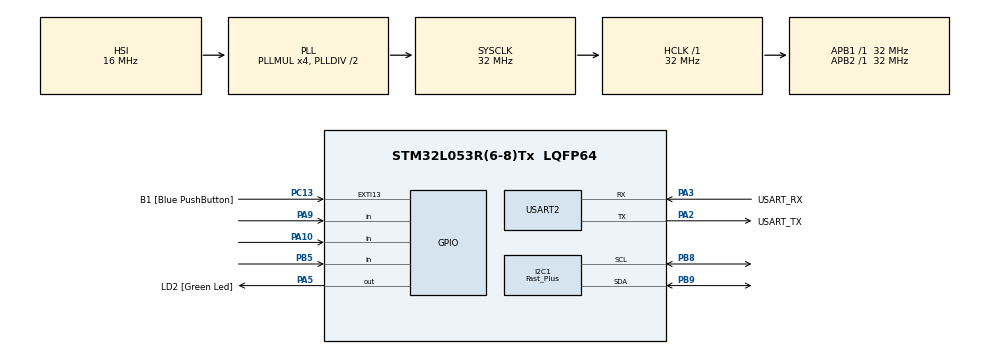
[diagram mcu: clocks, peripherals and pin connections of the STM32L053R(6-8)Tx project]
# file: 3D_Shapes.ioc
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I2C1.I2C_Speed_Mode=I2C_Fast_Plus
I2C1.Timing=0x0040040C
Mcu.Family=STM32L0
Mcu.Name=STM32L053R(6-8)Tx
Mcu.Package=LQFP64
PA10.GPIO_PuPd=GPIO_PULLUP
PA10.Signal=GPIO_Input
PA13.GPIO_Label=TMS
PA13.Mode=Serial_Wire
PA13.Signal=SYS_SWDIO
PA14.GPIO_Label=TCK
PA14.Mode=Serial_Wire
PA14.Signal=SYS_SWCLK
PA2.GPIO_Label=USART_TX
PA2.Mode=Asynchronous
PA2.Signal=USART2_TX
PA3.GPIO_Label=USART_RX
PA3.Mode=Asynchronous
PA3.Signal=USART2_RX
PA5.GPIO_Label=LD2 [Green Led]
PA5.Signal=GPIO_Output
PA9.GPIO_PuPd=GPIO_PULLUP
PA9.Signal=GPIO_Input
PB5.GPIO_PuPd=GPIO_PULLUP
PB5.Signal=GPIO_Input
PB8.Mode=I2C
PB8.Signal=I2C1_SCL
PB9.Mode=I2C
PB9.Signal=I2C1_SDA
PC13.GPIO_Label=B1 [Blue PushButton]
PC13.GPIO_ModeDefaultEXTI=GPIO_MODE_IT_FALLING
PC13.Signal=GPXTI13
PC14-OSC32_IN.Mode=LSE-External-Oscillator
PC14-OSC32_IN.Signal=RCC_OSC32_IN
PC15-OSC32_OUT.Mode=LSE-External-Oscillator
PC15-OSC32_OUT.Signal=RCC_OSC32_OUT
PH0-OSC_IN.Mode=HSE-External-Clock-Source
PH0-OSC_IN.Signal=RCC_OSC_IN
PH1-OSC_OUT.Signal=RCC_OSC_OUT
ProjectManager.HeapSize=0x200
ProjectManager.StackSize=0x400
ProjectManager.TargetToolchain=STM32CubeIDE
RCC.AHBFreq_Value=32000000
RCC.APB1Freq_Value=32000000
RCC.APB1TimFreq_Value=32000000
RCC.APB2Freq_Value=32000000
RCC.APB2TimFreq_Value=32000000
RCC.HCLKFreq_Value=32000000
RCC.HSE_VALUE=8000000
RCC.HSI16_VALUE=16000000
RCC.HSI48_VALUE=48000000
RCC.HSI_VALUE=16000000
RCC.MSI_VALUE=2097000
RCC.PLLMUL=RCC_PLLMUL_4
RCC.SYSCLKFreq_VALUE=32000000
RCC.SYSCLKSource=RCC_SYSCLKSOURCE_PLLCLK
RCC.VCOOutputFreq_Value=64000000
USART2.VirtualMode-Asynchronous=VM_ASYNC
board=NUCLEO-L053R8

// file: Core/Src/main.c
/* USER CODE BEGIN Header */
/**
 ******************************************************************************
 * @file           : main.c
 * @brief          : Main program body
 ******************************************************************************
 * @attention
 *
 * Copyright (c) 2026 STMicroelectronics.
 * All rights reserved.
 *
 * This software is licensed under terms that can be found in the LICENSE file
 * in the root directory of this software component.
 * If no LICENSE file comes with this software, it is provided AS-IS.
 *
 ******************************************************************************
 */
/* USER CODE END Header */
#include "main.h"

/* USER CODE BEGIN Includes */
#include "ssd1306.h"
#include "ssd1306_fonts.h"
#include "math.h"

/* USER CODE END Includes */

/* USER CODE BEGIN PD */

#define NUM_OF_ITEMS 7
#define MAX_TITLE_LENGTH 20

// ' scroll', 1x64px
const unsigned char epd_bitmap__scroll[] = { 0x80, 0x80, 0x00, 0x80, 0x00, 0x80,
		0x00, 0x80, 0x00, 0x80, 0x00, 0x80, 0x00, 0x80, 0x00, 0x80, 0x00, 0x80,
		0x00, 0x80, 0x00, 0x80, 0x00, 0x80, 0x00, 0x80, 0x00, 0x80, 0x00, 0x80,
		0x00, 0x80, 0x00, 0x80, 0x00, 0x80, 0x00, 0x80, 0x00, 0x80, 0x00, 0x80,
		0x00, 0x80, 0x00, 0x80, 0x00, 0x80, 0x00, 0x80, 0x00, 0x80, 0x00, 0x80,
		0x00, 0x80, 0x00, 0x80, 0x00, 0x80, 0x00, 0x00, 0x00 };
// ' selected', 118x21px
const unsigned char epd_bitmap__selected[] = { 0x3f, 0xff, 0xff, 0xff, 0xff,
		0xff, 0xff, 0xff, 0xff, 0xff, 0xff, 0xff, 0xff, 0xff, 0xe0, 0x40, 0x00,
		0x00, 0x00, 0x00, 0x00, 0x00, 0x00, 0x00, 0x00, 0x00, 0x00, 0x00, 0x00,
		0x30, 0x80, 0x00, 0x00, 0x00, 0x00, 0x00, 0x00, 0x00, 0x00, 0x00, 0x00,
		0x00, 0x00, 0x00, 0x18, 0x80, 0x00, 0x00, 0x00, 0x00, 0x00, 0x00, 0x00,
		0x00, 0x00, 0x00, 0x00, 0x00, 0x00, 0x0c, 0x80, 0x00, 0x00, 0x00, 0x00,
		0x00, 0x00, 0x00, 0x00, 0x00, 0x00, 0x00, 0x00, 0x00, 0x0c, 0x80, 0x00,
		0x00, 0x00, 0x00, 0x00, 0x00, 0x00, 0x00, 0x00, 0x00, 0x00, 0x00, 0x00,
		0x0c, 0x80, 0x00, 0x00, 0x00, 0x00, 0x00, 0x00, 0x00, 0x00, 0x00, 0x00,
		0x00, 0x00, 0x00, 0x0c, 0x80, 0x00, 0x00, 0x00, 0x00, 0x00, 0x00, 0x00,
		0x00, 0x00, 0x00, 0x00, 0x00, 0x00, 0x0c, 0x80, 0x00, 0x00, 0x00, 0x00,
		0x00, 0x00, 0x00, 0x00, 0x00, 0x00, 0x00, 0x00, 0x00, 0x0c, 0x80, 0x00,
		0x00, 0x00, 0x00, 0x00, 0x00, 0x00, 0x00, 0x00, 0x00, 0x00, 0x00, 0x00,
		0x0c, 0x80, 0x00, 0x00, 0x00, 0x00, 0x00, 0x00, 0x00, 0x00, 0x00, 0x00,
		0x00, 0x00, 0x00, 0x0c, 0x80, 0x00, 0x00, 0x00, 0x00, 0x00, 0x00, 0x00,
		0x00, 0x00, 0x00, 0x00, 0x00, 0x00, 0x0c, 0x80, 0x00, 0x00, 0x00, 0x00,
		0x00, 0x00, 0x00, 0x00, 0x00, 0x00, 0x00, 0x00, 0x00, 0x0c, 0x80, 0x00,
		0x00, 0x00, 0x00, 0x00, 0x00, 0x00, 0x00, 0x00, 0x00, 0x00, 0x00, 0x00,
		0x0c, 0x80, 0x00, 0x00, 0x00, 0x00, 0x00, 0x00, 0x00, 0x00, 0x00, 0x00,
		0x00, 0x00, 0x00, 0x0c, 0x80, 0x00, 0x00, 0x00, 0x00, 0x00, 0x00, 0x00,
		0x00, 0x00, 0x00, 0x00, 0x00, 0x00, 0x0c, 0x80, 0x00, 0x00, 0x00, 0x00,
		0x00, 0x00, 0x00, 0x00, 0x00, 0x00, 0x00, 0x00, 0x00, 0x0c, 0x80, 0x00,
		0x00, 0x00, 0x00, 0x00, 0x00, 0x00, 0x00, 0x00, 0x00, 0x00, 0x00, 0x00,
		0x1c, 0xc0, 0x00, 0x00, 0x00, 0x00, 0x00, 0x00, 0x00, 0x00, 0x00, 0x00,
		0x00, 0x00, 0x00, 0x38, 0x7f, 0xff, 0xff, 0xff, 0xff, 0xff, 0xff, 0xff,
		0xff, 0xff, 0xff, 0xff, 0xff, 0xff, 0xf0, 0x1f, 0xff, 0xff, 0xff, 0xff,
		0xff, 0xff, 0xff, 0xff, 0xff, 0xff, 0xff, 0xff, 0xff, 0xe0 };

// ' cube', 16x16px
const unsigned char epd_bitmap__cube[] = { 0xff, 0xfc, 0xc0, 0x0c, 0xa0, 0x14,
		0x90, 0x24, 0x8f, 0xc4, 0x88, 0x44, 0x88, 0x44, 0x88, 0x44, 0x88, 0x44,
		0x8f, 0xc4, 0x90, 0x24, 0xa0, 0x14, 0xc0, 0x0c, 0xff, 0xfc, 0x00, 0x00,
		0x00, 0x00 };

// 'arrow', 16x16px
const unsigned char epd_bitmap__arrow []  = {
	0x04, 0x00, 0x08, 0x00, 0x30, 0x00, 0x40, 0x00, 0xff, 0xfc, 0x40, 0x00, 0x30, 0x00, 0x08, 0x00,
	0x04, 0x00, 0x00, 0x00, 0x00, 0x00, 0x00, 0x00, 0x00, 0x00, 0x00, 0x00, 0x00, 0x00, 0x00, 0x00
};
// ' penta1', 16x16px
const unsigned char epd_bitmap__penta1 []  = {
	0x07, 0x00, 0x3a, 0xe0, 0xc2, 0x18, 0xc2, 0x18, 0xc2, 0x28, 0xa2, 0x28, 0x9f, 0xc8, 0x92, 0x48,
	0x95, 0x48, 0x94, 0xc8, 0x58, 0x50, 0x30, 0x60, 0x1f, 0xc0, 0x00, 0x00, 0x00, 0x00, 0x00, 0x00
};
// ' penta2', 16x16px
const unsigned char epd_bitmap__penta2 []  = {
	0x03, 0x00, 0x0c, 0xc0, 0x10, 0x20, 0x60, 0x18, 0x80, 0x04, 0x80, 0x24, 0x40, 0x28, 0x40, 0x28,
	0x20, 0x70, 0x27, 0x90, 0x10, 0x20, 0x1f, 0xe0, 0x00, 0x00, 0x00, 0x00, 0x00, 0x00, 0x00, 0x00
};
// ' prism', 16x16px
const unsigned char epd_bitmap__prism []  = {
	0x7f, 0x80, 0xc0, 0x70, 0xa0, 0xd0, 0xa3, 0x10, 0x9c, 0x10, 0x90, 0x10, 0x90, 0x10, 0xf0, 0x10,
	0x9f, 0x90, 0x50, 0x70, 0x31, 0xf0, 0x1e, 0x00, 0x00, 0x00, 0x00, 0x00, 0x00, 0x00, 0x00, 0x00
};
// 'tetra', 16x16px
const unsigned char epd_bitmap_tetra []  = {
	0x01, 0x80, 0x03, 0x40, 0x05, 0x40, 0x05, 0x40, 0x05, 0x20, 0x09, 0x20, 0x09, 0x20, 0x11, 0x10,
	0x11, 0x10, 0x23, 0x10, 0x24, 0x88, 0x48, 0x48, 0x50, 0x28, 0xa0, 0x14, 0xff, 0xfc, 0x00, 0x00
};
// ' pyramid', 16x16px
const unsigned char epd_bitmap__pyramid []  = {
	0x02, 0x00, 0x0f, 0x80, 0x15, 0x40, 0x65, 0x30, 0xff, 0xf8, 0x88, 0x88, 0x90, 0x48, 0x90, 0x48,
	0xa0, 0x28, 0xa0, 0x28, 0xc0, 0x18, 0xc0, 0x18, 0x80, 0x08, 0xff, 0xf8, 0x00, 0x00, 0x00, 0x00
};

// Array of all bitmaps for convenience. (Total bytes used to store images in PROGMEM = 288)
const int bitmap_icons_LEN = 7;
const unsigned char* bitmap_icons[7] = {
	epd_bitmap__arrow,
	epd_bitmap__penta2,
	epd_bitmap__penta1,
	epd_bitmap__prism,
	epd_bitmap_tetra,
	epd_bitmap__cube,
	epd_bitmap__pyramid

};

char menu_items[NUM_OF_ITEMS][MAX_TITLE_LENGTH] = {
		{ "Arrow" },
		{ "Penta 1" },
		{"Penta 2" },
		{ "Prism" },
		{ "Tetra" },
		{ "Cube" },
		{ "Pyramid" }
	};

/* USER CODE END PD */

I2C_HandleTypeDef hi2c1;

UART_HandleTypeDef huart2;

void SystemClock_Config(void);
static void MX_GPIO_Init(void);
static void MX_USART2_UART_Init(void);
static void MX_I2C1_Init(void);

/* USER CODE BEGIN 0 */
#define PI 3.14159265358979323846f
#define DEG2RAD (PI / 180.0f)
#define MAX_POINTS 10

#define FRAME_PERIOD_MS       33U    // 30 FPS
#define ROTATION_SPEED_DPS    60.0f  // Degrees per second
#define SCALE_SPEED_RAD_S     2.0f   // Scale oscillation speed

uint32_t lastTime = 0;
uint32_t now = 0;
uint32_t elapsed = 0;

float angle = 0.0;
float rad = 0.0f;
float z_offset = -5.0; //offset po z
float mult = 70.0; //scaler
int osc = 0; //oscilator
int shape = 0;
int n; //tochki

uint8_t currentScreen = 0;
int itemSelected = 1;
int previousItem = 0;
int nextItem = 2;

uint8_t selectPressed = 0;
uint8_t down_buttonIsPressed = 0;
uint8_t up_buttonIsPressed = 0;

const int cube_points[8][3] = { //x, y, z
		{ -1, -1, 1 }, // 0
		{ 1, -1, 1 }, // 1
		{ 1, 1, 1 }, // 2
		{ -1,1, 1 }, // 3
		{ -1, -1, -1 }, // 4
		{ 1, -1, -1 }, // 5
		{ 1, 1, -1 }, // 6
		{ -1, 1, -1 } // 7
	};

const int pyramid_points[5][3] = { // x , y , z
		{ 1, -1, -1 }, // 0
		{ -1, -1, -1 }, // 1
		{ -1, -1, 1 }, // 2
		{ 1, -1, 1 }, // 3
		{ 0, 1, 0 }, // 4
	};

const int tetrahedron_points[4][3] = { //x,y,z
		{0, -1, -1}, // 0
		{1, -1, 1}, //1
		{-1, -1, 1}, //2
		{0, 1, 0} //3
		//zashtoto osnowata ne e kwadrat i winagi she izglejda leko ploska s celi chisla
	};

const int triangular_prism [6][3] =  { //x,y,z

		{0, -1, -1}, // 0
		{1, -1, 1}, // 1
		{-1, -1, 1}, // 2

		{0, 1, -1}, // 3
		{1, 1, 1}, // 4
		{-1, 1, 1} // 5

	};

const int pentagon_one_points [10][3] = { //x,y,z

		{0, 1.5, -1},
		{2 , 0.5, -1},
		{1, -1.5, -1},
		{-1, -1.5, -1},
		{-2, 0.5, -1},

		{0, 1.5, 1},
		{2 , 0.5, 1},
		{1, -1.5, 1},
		{-1, -1.5, 1},
		{-2, 0.5, 1}

};

const int pentagon_two_points [10][3] = { //x,y,z
		{0,-1,-2},
		{2, -1, -1},
		{1, -1, 1},
		{-1, -1, 1},
		{-2, -1, -1},

		{0, 1, -2},
		{2, 1, -1},
		{1, 1, 1},
		{-1, 1, 1},
		{-2, 1, -1}
};

const int arrow_points [4][3] = {

		{0, 0, 2},
		{1, 1, 1},
		{1, -1, 1},
		{2, 0, 0}

};

static void displayCube(int points_2d[][2]) {

	//CLear Screen
	ssd1306_Fill(Black);

	//Display Cube
	ssd1306_Line(points_2d[0][0], points_2d[0][1], points_2d[1][0],points_2d[1][1], White); // 0 -1
	ssd1306_Line(points_2d[1][0], points_2d[1][1], points_2d[2][0],points_2d[2][1], White); // 1 - 2
	ssd1306_Line(points_2d[2][0], points_2d[2][1], points_2d[3][0],points_2d[3][1], White); // 2 - 3
	ssd1306_Line(points_2d[3][0], points_2d[3][1], points_2d[0][0],points_2d[0][1], White); // 3 - 0

	ssd1306_Line(points_2d[4][0], points_2d[4][1], points_2d[5][0],points_2d[5][1], White); // 4 - 5
	ssd1306_Line(points_2d[5][0], points_2d[5][1], points_2d[6][0],points_2d[6][1], White); // 5 - 6
	ssd1306_Line(points_2d[6][0], points_2d[6][1], points_2d[7][0],points_2d[7][1], White); // 6 - 7
	ssd1306_Line(points_2d[7][0], points_2d[7][1], points_2d[4][0],points_2d[4][1], White); // 7 - 4

	ssd1306_Line(points_2d[0][0], points_2d[0][1], points_2d[4][0], points_2d[4][1], White); // 0 - 4
	ssd1306_Line(points_2d[1][0], points_2d[1][1], points_2d[5][0],points_2d[5][1], White); // 1 - 5
	ssd1306_Line(points_2d[2][0], points_2d[2][1], points_2d[6][0],points_2d[6][1], White); // 2 - 6
	ssd1306_Line(points_2d[3][0], points_2d[3][1], points_2d[7][0],points_2d[7][1], White); // 3 - 7

	ssd1306_UpdateScreen();

}

static void displayPentagon(int points_2d[][2]) {

	//CLear Screen
	ssd1306_Fill(Black);

	//Display Cube
	ssd1306_Line(points_2d[0][0], points_2d[0][1], points_2d[1][0],points_2d[1][1], White); // 0 - 1
	ssd1306_Line(points_2d[1][0], points_2d[1][1], points_2d[2][0],points_2d[2][1], White); // 1 - 2
	ssd1306_Line(points_2d[2][0], points_2d[2][1], points_2d[3][0],points_2d[3][1], White); // 2 - 3
	ssd1306_Line(points_2d[3][0], points_2d[3][1], points_2d[4][0],points_2d[4][1], White); // 3 - 4
	ssd1306_Line(points_2d[4][0], points_2d[4][1], points_2d[0][0],points_2d[0][1], White); // 4 - 0

	ssd1306_Line(points_2d[5][0], points_2d[5][1], points_2d[6][0],points_2d[6][1], White); // 5 - 6
	ssd1306_Line(points_2d[6][0], points_2d[6][1], points_2d[7][0],points_2d[7][1], White); // 6 - 7
	ssd1306_Line(points_2d[7][0], points_2d[7][1], points_2d[8][0],points_2d[8][1], White); // 7 - 8
	ssd1306_Line(points_2d[8][0], points_2d[8][1], points_2d[9][0],points_2d[9][1], White); // 8 - 9
	ssd1306_Line(points_2d[9][0], points_2d[9][1], points_2d[5][0],points_2d[5][1], White); // 9 - 5

	ssd1306_Line(points_2d[0][0], points_2d[0][1], points_2d[5][0],points_2d[5][1], White); // 0 - 5
	ssd1306_Line(points_2d[1][0], points_2d[1][1], points_2d[6][0],points_2d[6][1], White); // 1 - 6
	ssd1306_Line(points_2d[2][0], points_2d[2][1], points_2d[7][0],points_2d[7][1], White); // 2 - 7
	ssd1306_Line(points_2d[3][0], points_2d[3][1], points_2d[8][0],points_2d[8][1], White); // 3 - 8
	ssd1306_Line(points_2d[4][0], points_2d[4][1], points_2d[9][0],points_2d[9][1], White); // 4 - 9

	ssd1306_UpdateScreen();

}

static void displayPyramid(int points_2d[][2]) {

	//CLear Screen
	ssd1306_Fill(Black);

	ssd1306_Line(points_2d[0][0], points_2d[0][1], points_2d[1][0],points_2d[1][1], White); // 0 -1
	ssd1306_Line(points_2d[1][0], points_2d[1][1], points_2d[2][0],points_2d[2][1], White); // 1 - 2
	ssd1306_Line(points_2d[2][0], points_2d[2][1], points_2d[3][0],points_2d[3][1], White); // 2 - 3
	ssd1306_Line(points_2d[3][0], points_2d[3][1], points_2d[0][0],points_2d[0][1], White); // 3 - 0

	ssd1306_Line(points_2d[0][0], points_2d[0][1], points_2d[4][0],points_2d[4][1], White); // 4 - 5
	ssd1306_Line(points_2d[1][0], points_2d[1][1], points_2d[4][0],points_2d[4][1], White); // 5 - 6
	ssd1306_Line(points_2d[2][0], points_2d[2][1], points_2d[4][0],points_2d[4][1], White); // 6 - 7
	ssd1306_Line(points_2d[3][0], points_2d[3][1], points_2d[4][0],points_2d[4][1], White); // 7 - 4

	ssd1306_UpdateScreen();
}

static void displayTriPrism(int points_2d[][2]) {

	//CLear Screen
	ssd1306_Fill(Black);

	//Display Prism
	ssd1306_Line(points_2d[0][0], points_2d[0][1], points_2d[1][0],points_2d[1][1], White); // 0 -1
	ssd1306_Line(points_2d[1][0], points_2d[1][1], points_2d[2][0],points_2d[2][1], White); // 1 - 2
	ssd1306_Line(points_2d[2][0], points_2d[2][1], points_2d[0][0],points_2d[0][1], White); // 2 - 0

	ssd1306_Line(points_2d[3][0], points_2d[3][1], points_2d[4][0],points_2d[4][1], White); // 3 - 4
	ssd1306_Line(points_2d[4][0], points_2d[4][1], points_2d[5][0],points_2d[5][1], White); // 4 - 5
	ssd1306_Line(points_2d[5][0], points_2d[5][1], points_2d[3][0],points_2d[3][1], White); // 5 - 3

	ssd1306_Line(points_2d[0][0], points_2d[0][1], points_2d[3][0],points_2d[3][1], White); // 0 - 3
	ssd1306_Line(points_2d[1][0], points_2d[1][1], points_2d[4][0],points_2d[4][1], White); // 1 - 4
	ssd1306_Line(points_2d[2][0], points_2d[2][1], points_2d[5][0],points_2d[5][1], White); // 2 - 5

	ssd1306_UpdateScreen();

}

static void displayTetra(int points_2d[][2]) {

	//CLear Screen
	ssd1306_Fill(Black);

	ssd1306_Line(points_2d[0][0], points_2d[0][1], points_2d[1][0],points_2d[1][1], White); // 0 -1
	ssd1306_Line(points_2d[1][0], points_2d[1][1], points_2d[2][0],points_2d[2][1], White); // 1 - 2
	ssd1306_Line(points_2d[2][0], points_2d[2][1], points_2d[0][0],points_2d[0][1], White); // 2 - 0

	ssd1306_Line(points_2d[0][0], points_2d[0][1], points_2d[3][0],points_2d[3][1], White); // 0 - 3
	ssd1306_Line(points_2d[1][0], points_2d[1][1], points_2d[3][0],points_2d[3][1], White); // 1 - 3
	ssd1306_Line(points_2d[2][0], points_2d[2][1], points_2d[3][0],points_2d[3][1], White); // 2 - 3

	ssd1306_UpdateScreen();
}

static void displayArrow(int points_2d[][2]) {

	//CLear Screen
	ssd1306_Fill(Black);

	ssd1306_Line(points_2d[0][0], points_2d[0][1], points_2d[1][0],points_2d[1][1], White); // 0 - 1
	ssd1306_Line(points_2d[0][0], points_2d[0][1], points_2d[2][0],points_2d[2][1], White); // 0 - 2
	ssd1306_Line(points_2d[0][0], points_2d[0][1], points_2d[3][0],points_2d[3][1], White); // 0 - 3

	ssd1306_UpdateScreen();
}

static void rotateXYZ(const int original_points[][3], float rotated_points[][3],float rad, float z_offset, int n) {
	//rotate x, y, z
	for (int i = 0; i < n; i++) {
		//X value
		rotated_points[i][0] = original_points[i][0] * cos(rad)
				- original_points[i][2] * sin(rad);

		//Y val - ne se promenq, zashtoto wurtim po Y-axis
		rotated_points[i][1] = original_points[i][1];

		//Z val + Z_offset
		rotated_points[i][2] = original_points[i][0] * sin(rad)
				+ original_points[i][2] * cos(rad) + z_offset;
	}
}

static void pointsConvert2D(int points_2d[][2], float rotated_points[][3],
		int n) {
	//3d to 2d
	for (int i = 0; i < n; i++) {
		//X val = Xc = x / z
		points_2d[i][0] = roundf(
				64 + rotated_points[i][0] / rotated_points[i][2] * mult); // +64 za centrirane

				//Y val = Yc = y / z
		points_2d[i][1] = roundf(
				32 + rotated_points[i][1] / rotated_points[i][2] * mult); //+32 za centrirane
	}
}

static void spinShape(const int original_points[][3], float rotated_points[][3], int points_2d[][2],float rad, float z_offset, int n, int shape){

	//rotate XYZ
	rotateXYZ(original_points, rotated_points, rad, z_offset, n);

	//3D to 2D
	pointsConvert2D(points_2d, rotated_points, n);

	switch(shape){
	case 0: displayArrow(points_2d); break;
	case 1: displayPentagon(points_2d); break;
	case 2: displayPentagon(points_2d); break;
	case 3: displayTriPrism(points_2d);break;
	case 4: displayTetra(points_2d); break;
	case 5: displayCube(points_2d); break;
	case 6:	displayPyramid(points_2d); break;
	}

}

/* USER CODE END 0 */

int main(void)
{

  /* MCU Configuration--------------------------------------------------------*/

  /* Reset of all peripherals, Initializes the Flash interface and the Systick. */
  HAL_Init();

  /* Configure the system clock */
  SystemClock_Config();

  /* Initialize all configured peripherals */
  MX_GPIO_Init();
  MX_USART2_UART_Init();
  MX_I2C1_Init();
  /* USER CODE BEGIN 2 */

	const int (*original_points)[3];
	int points_2d[MAX_POINTS][2]; //x,y - 2d
	float rotated_points[MAX_POINTS][3]; //x,y,z zawurtqni w 3d
	float scalePhase = 0.0f;

	ssd1306_Init();

  /* USER CODE END 2 */

  /* Infinite loop */
	while (1) {

    /* USER CODE BEGIN 3 */

		//choose screen
		if (HAL_GPIO_ReadPin(GPIOA, GPIO_PIN_9) == 0 && selectPressed == 0) {
			selectPressed = 1;
			if (currentScreen == 0)
				currentScreen = 1;
			else
				currentScreen = 0;
		}

		if (HAL_GPIO_ReadPin(GPIOA, GPIO_PIN_9) == 1 && selectPressed == 1)
			selectPressed = 0;

		if (currentScreen == 0) {

			if (HAL_GPIO_ReadPin(GPIOA, GPIO_PIN_10) == 0
					&& down_buttonIsPressed == 0) {
				down_buttonIsPressed = 1;

				previousItem = itemSelected;
				itemSelected = nextItem;

				if (nextItem >= NUM_OF_ITEMS - 1)
					nextItem = 0;
				else
					nextItem++;
			}

			if (HAL_GPIO_ReadPin(GPIOA, GPIO_PIN_10) == 1
					&& down_buttonIsPressed == 1)
				down_buttonIsPressed = 0;

			if (HAL_GPIO_ReadPin(GPIOB, GPIO_PIN_5) == 0
					&& up_buttonIsPressed == 0) {
				up_buttonIsPressed = 1;

				nextItem = itemSelected;
				itemSelected = previousItem;

				if (previousItem <= 0)
					previousItem = NUM_OF_ITEMS - 1;
				else
					previousItem--;
			}

			if (HAL_GPIO_ReadPin(GPIOB, GPIO_PIN_5) == 1
					&& up_buttonIsPressed == 1)
				up_buttonIsPressed = 0;

			ssd1306_Fill(Black);

			ssd1306_DrawBitmap(1, 22, epd_bitmap__selected, 118, 21, White);
			ssd1306_DrawBitmap(126, 1, epd_bitmap__scroll, 1, 64, White);

			ssd1306_DrawBitmap(4, 2, bitmap_icons[previousItem], 16, 16, White); //previous item - icon
			ssd1306_SetCursor(30, 0);
			ssd1306_WriteString(menu_items[previousItem], Font_11x18, White); //previous item - label

			ssd1306_DrawBitmap(4, 24, bitmap_icons[itemSelected], 16, 16,White); //current item - icon
			ssd1306_SetCursor(30, 23);
			ssd1306_WriteString(menu_items[itemSelected], Font_11x18, White); //current item - label

			ssd1306_DrawBitmap(4, 46, bitmap_icons[nextItem], 16, 16, White); //next item - icon
			ssd1306_SetCursor(30, 46);
			ssd1306_WriteString(menu_items[nextItem], Font_11x18, White); //next item - label

			ssd1306_UpdateScreen();
		} else if (currentScreen == 1) {

			switch(itemSelected){
				case 0: 	n = 4;
							original_points = arrow_points;
							break;

				case 1: 	n = 10;
							original_points = pentagon_one_points;
							break;

				case 2: 	n = 10;
							original_points = pentagon_two_points;
							break;

				case 3: 	n = 6;
							original_points = triangular_prism;
							break;

				case 4:		n = 4;
							original_points = tetrahedron_points;
							break;

				case 5: 	n = 8;
							original_points = cube_points;
							break;

				case 6: 	n = 5;
							original_points = pyramid_points;
							break;

				default: original_points = NULL; n = 0; break;
			}

			now = HAL_GetTick();
			elapsed = now - lastTime;
			if(now - lastTime >= FRAME_PERIOD_MS){
				lastTime = now;

			    float deltaTime = (float)elapsed / 1000.0f;
			    angle += ROTATION_SPEED_DPS * deltaTime;

			    while (angle >= 360.0f) {
			        angle -= 360.0f;
			    }

			    rad = angle * DEG2RAD;

			    scalePhase += SCALE_SPEED_RAD_S * deltaTime;

			    while (scalePhase >= 2.0f * PI) {
			        scalePhase -= 2.0f * PI;
			    }

			    mult = 70.0f + sinf(scalePhase) * 15.0f;

			    if(original_points != NULL)
			    	spinShape(original_points, rotated_points, points_2d, rad, z_offset, n, itemSelected);

			}

		}
	}
  /* USER CODE END 3 */
}

void SystemClock_Config(void)
{
  RCC_OscInitTypeDef RCC_OscInitStruct = {0};
  RCC_ClkInitTypeDef RCC_ClkInitStruct = {0};
  RCC_PeriphCLKInitTypeDef PeriphClkInit = {0};

  /** Configure the main internal regulator output voltage
  */
  __HAL_PWR_VOLTAGESCALING_CONFIG(PWR_REGULATOR_VOLTAGE_SCALE1);

  /** Initializes the RCC Oscillators according to the specified parameters
  * in the RCC_OscInitTypeDef structure.
  */
  RCC_OscInitStruct.OscillatorType = RCC_OSCILLATORTYPE_HSI;
  RCC_OscInitStruct.HSIState = RCC_HSI_ON;
  RCC_OscInitStruct.HSICalibrationValue = RCC_HSICALIBRATION_DEFAULT;
  RCC_OscInitStruct.PLL.PLLState = RCC_PLL_ON;
  RCC_OscInitStruct.PLL.PLLSource = RCC_PLLSOURCE_HSI;
  RCC_OscInitStruct.PLL.PLLMUL = RCC_PLLMUL_4;
  RCC_OscInitStruct.PLL.PLLDIV = RCC_PLLDIV_2;
  if (HAL_RCC_OscConfig(&RCC_OscInitStruct) != HAL_OK)
  {
    Error_Handler();
  }

  /** Initializes the CPU, AHB and APB buses clocks
  */
  RCC_ClkInitStruct.ClockType = RCC_CLOCKTYPE_HCLK|RCC_CLOCKTYPE_SYSCLK
                              |RCC_CLOCKTYPE_PCLK1|RCC_CLOCKTYPE_PCLK2;
  RCC_ClkInitStruct.SYSCLKSource = RCC_SYSCLKSOURCE_PLLCLK;
  RCC_ClkInitStruct.AHBCLKDivider = RCC_SYSCLK_DIV1;
  RCC_ClkInitStruct.APB1CLKDivider = RCC_HCLK_DIV1;
  RCC_ClkInitStruct.APB2CLKDivider = RCC_HCLK_DIV1;

  if (HAL_RCC_ClockConfig(&RCC_ClkInitStruct, FLASH_LATENCY_1) != HAL_OK)
  {
    Error_Handler();
  }
  PeriphClkInit.PeriphClockSelection = RCC_PERIPHCLK_USART2|RCC_PERIPHCLK_I2C1;
  PeriphClkInit.Usart2ClockSelection = RCC_USART2CLKSOURCE_PCLK1;
  PeriphClkInit.I2c1ClockSelection = RCC_I2C1CLKSOURCE_PCLK1;
  if (HAL_RCCEx_PeriphCLKConfig(&PeriphClkInit) != HAL_OK)
  {
    Error_Handler();
  }
}

static void MX_I2C1_Init(void)
{

  hi2c1.Instance = I2C1;
  hi2c1.Init.Timing = 0x0040040C;
  hi2c1.Init.OwnAddress1 = 0;
  hi2c1.Init.AddressingMode = I2C_ADDRESSINGMODE_7BIT;
  hi2c1.Init.DualAddressMode = I2C_DUALADDRESS_DISABLE;
  hi2c1.Init.OwnAddress2 = 0;
  hi2c1.Init.OwnAddress2Masks = I2C_OA2_NOMASK;
  hi2c1.Init.GeneralCallMode = I2C_GENERALCALL_DISABLE;
  hi2c1.Init.NoStretchMode = I2C_NOSTRETCH_DISABLE;
  if (HAL_I2C_Init(&hi2c1) != HAL_OK)
  {
    Error_Handler();
  }

  /** Configure Analogue filter
  */
  if (HAL_I2CEx_ConfigAnalogFilter(&hi2c1, I2C_ANALOGFILTER_ENABLE) != HAL_OK)
  {
    Error_Handler();
  }

  /** Configure Digital filter
  */
  if (HAL_I2CEx_ConfigDigitalFilter(&hi2c1, 0) != HAL_OK)
  {
    Error_Handler();
  }

  /** I2C Fast mode Plus enable
  */
  HAL_I2CEx_EnableFastModePlus(I2C_FASTMODEPLUS_I2C1);

}

static void MX_USART2_UART_Init(void)
{

  huart2.Instance = USART2;
  huart2.Init.BaudRate = 115200;
  huart2.Init.WordLength = UART_WORDLENGTH_8B;
  huart2.Init.StopBits = UART_STOPBITS_1;
  huart2.Init.Parity = UART_PARITY_NONE;
  huart2.Init.Mode = UART_MODE_TX_RX;
  huart2.Init.HwFlowCtl = UART_HWCONTROL_NONE;
  huart2.Init.OverSampling = UART_OVERSAMPLING_16;
  huart2.Init.OneBitSampling = UART_ONE_BIT_SAMPLE_DISABLE;
  huart2.AdvancedInit.AdvFeatureInit = UART_ADVFEATURE_NO_INIT;
  if (HAL_UART_Init(&huart2) != HAL_OK)
  {
    Error_Handler();
  }

}

static void MX_GPIO_Init(void)
{
  GPIO_InitTypeDef GPIO_InitStruct = {0};

  /* GPIO Ports Clock Enable */
  __HAL_RCC_GPIOC_CLK_ENABLE();
  __HAL_RCC_GPIOH_CLK_ENABLE();
  __HAL_RCC_GPIOA_CLK_ENABLE();
  __HAL_RCC_GPIOB_CLK_ENABLE();

  /*Configure GPIO pin Output Level */
  HAL_GPIO_WritePin(LD2_GPIO_Port, LD2_Pin, GPIO_PIN_RESET);

  /*Configure GPIO pin : B1_Pin */
  GPIO_InitStruct.Pin = B1_Pin;
  GPIO_InitStruct.Mode = GPIO_MODE_IT_FALLING;
  GPIO_InitStruct.Pull = GPIO_NOPULL;
  HAL_GPIO_Init(B1_GPIO_Port, &GPIO_InitStruct);

  /*Configure GPIO pin : LD2_Pin */
  GPIO_InitStruct.Pin = LD2_Pin;
  GPIO_InitStruct.Mode = GPIO_MODE_OUTPUT_PP;
  GPIO_InitStruct.Pull = GPIO_NOPULL;
  GPIO_InitStruct.Speed = GPIO_SPEED_FREQ_LOW;
  HAL_GPIO_Init(LD2_GPIO_Port, &GPIO_InitStruct);

  /*Configure GPIO pins : PA9 PA10 */
  GPIO_InitStruct.Pin = GPIO_PIN_9|GPIO_PIN_10;
  GPIO_InitStruct.Mode = GPIO_MODE_INPUT;
  GPIO_InitStruct.Pull = GPIO_PULLUP;
  HAL_GPIO_Init(GPIOA, &GPIO_InitStruct);

  /*Configure GPIO pin : PB5 */
  GPIO_InitStruct.Pin = GPIO_PIN_5;
  GPIO_InitStruct.Mode = GPIO_MODE_INPUT;
  GPIO_InitStruct.Pull = GPIO_PULLUP;
  HAL_GPIO_Init(GPIOB, &GPIO_InitStruct);

}

void Error_Handler(void)
{
	__disable_irq();
	while (1) {
	}
}
